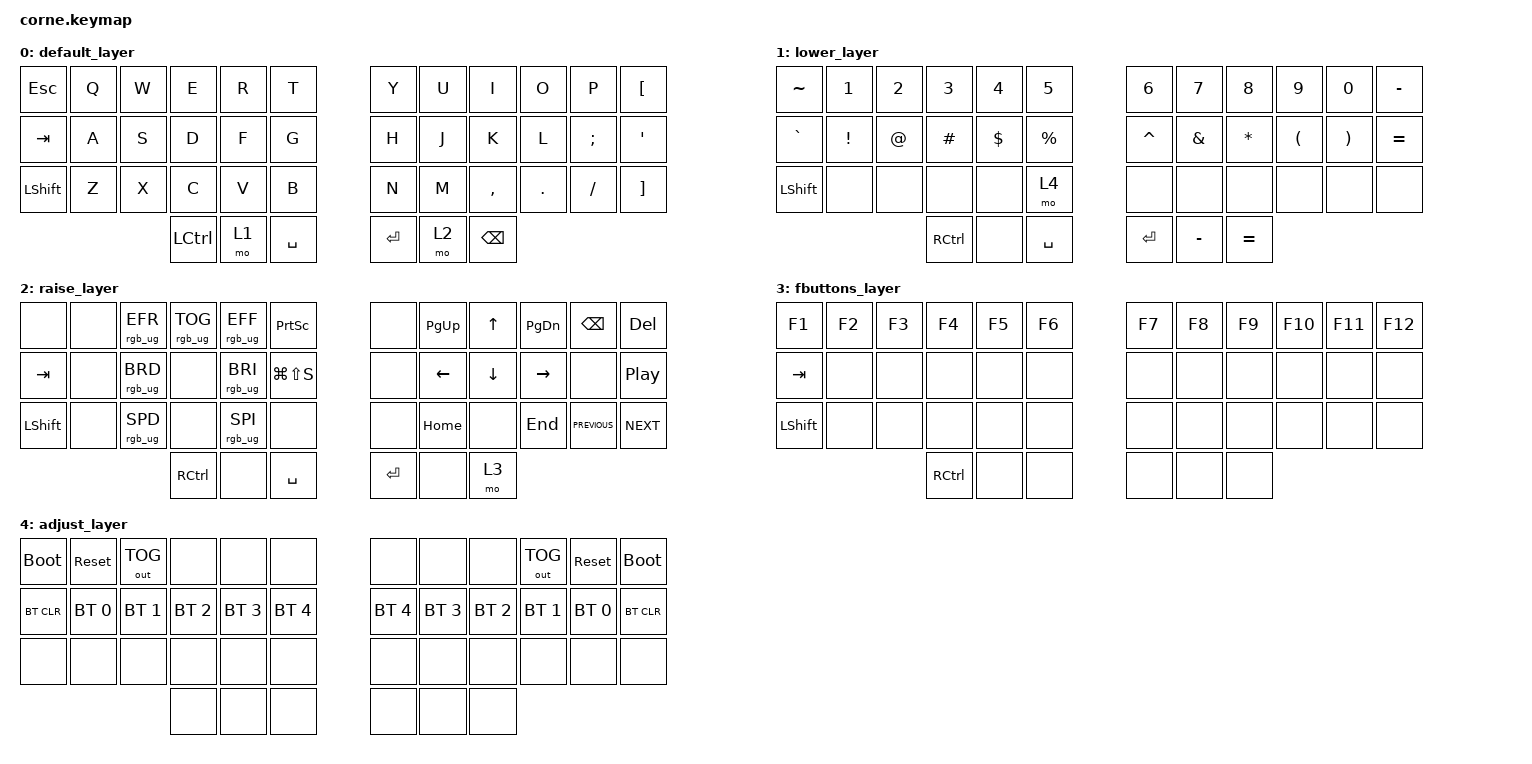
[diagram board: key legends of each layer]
/*
 * Copyright (c) 2020 The ZMK Contributors
 *
 * SPDX-License-Identifier: MIT
 */

#include <behaviors.dtsi>
#include <dt-bindings/zmk/keys.h>
#include <dt-bindings/zmk/bt.h>

/ {
        behaviors {
          tp: tap_preferred {
            compatible = "zmk,behavior-hold-tap";
            label = "TAP_PREFERRED";
            #binding-cells = <2>;
            tapping-term-ms = <150>;
            quick-tap-ms = <0>;
            flavor = "tap-preferred";
            bindings = <&kp>, <&kp>;
          }; 
        };

        combos {
        compatible = "zmk,combos";
        ParaLeft {
            bindings = <&kp LEFT_PARENTHESIS>;
            key-positions = <4 5>;
            timeout-ms = <20>;
        };

        ParaRight {
            bindings = <&kp RIGHT_PARENTHESIS>;
            key-positions = <6 7>;
            timeout-ms = <20>;
        };

        BrakLeft {
            bindings = <&kp LEFT_BRACKET>;
            key-positions = <16 17>;
            timeout-ms = <20>;
        };

        BrakRight {
            bindings = <&kp RIGHT_BRACKET>;
            key-positions = <18 19>;
            timeout-ms = <20>;
        };

        BraceLeft {
            bindings = <&kp LEFT_BRACE>;
            key-positions = <28 29>;
            timeout-ms = <20>;
        };

        BraceRight {
            bindings = <&kp RIGHT_BRACE>;
            key-positions = <30 31>;
            timeout-ms = <20>;
        };

        DoubleQuote {
            bindings = <&kp DOUBLE_QUOTES>;
            key-positions = <15 16>;
            timeout-ms = <20>;
        };

        SingleQuote {
            bindings = <&kp APOSTROPHE>;
            key-positions = <19 20>;
            timeout-ms = <20>;
        };

        //LangRu {
        //    bindings = <&kp LG(F11)>;
        //    key-positions = <0 1>;
        //    timeout-ms = <20>;
        //};
        //LangUs {
        //   bindings = <&kp LG(F12)>;
        //    key-positions = <10 11>;
        //    timeout-ms = <20>;
        //};
        //LangRuL {
        //    bindings = <&kp LG(F11)>;
        //    key-positions = <36 38>;
        //    timeout-ms = <20>;
        //};
        //LangUsL {
        //    bindings = <&kp LG(F12)>;
        //    key-positions = <39 41>;
        //    timeout-ms = <20>;
        //};

        TildaSign {
            bindings = <&kp TILDE>;
            key-positions = <0 12>;
            timeout-ms = <20>;
        };

        GraveSign {
            bindings = <&kp GRAVE>;
            key-positions = <12 24>;
            timeout-ms = <20>;
        };

        MinusSign {
            bindings = <&kp MINUS>;
            key-positions = <3 4>;
            timeout-ms = <20>;
        };

        PlusSign {
            bindings = <&kp PLUS>;
            key-positions = <2 3>;
            timeout-ms = <20>;
        };

        UnderscoreSign {
            bindings = <&kp UNDERSCORE>;
            key-positions = <7 8>;
            timeout-ms = <20>;
        };

        PipeSign {
            bindings = <&kp PIPE>;
            key-positions = <8 9>;
            timeout-ms = <20>;
        };
    };

        keymap {
        compatible = "zmk,keymap";

        default_layer {
            bindings = <
&kp ESC    &kp Q  &kp W  &kp E      &kp R  &kp T        &kp Y      &kp U  &kp I          &kp O    &kp P     &kp LEFT_BRACKET
&kp TAB    &kp A  &kp S  &kp D      &kp F  &kp G        &kp H      &kp J  &kp K          &kp L    &kp SEMI  &kp SQT
&kp LSHFT  &kp Z  &kp X  &kp C      &kp V  &kp B        &kp N      &kp M  &kp COMMA      &kp DOT  &kp FSLH  &kp RIGHT_BRACKET
                         &kp LCTRL  &mo 1  &kp SPACE    &kp ENTER  &mo 2  &kp BACKSPACE
            >;
        };

        lower_layer {
            bindings = <
&kp TILDE  &kp N1    &kp N2  &kp N3     &kp N4    &kp N5       &kp N6     &kp N7     &kp N8     &kp N9    &kp N0    &kp MINUS
&kp GRAVE  &kp EXCL  &kp AT  &kp HASH   &kp DLLR  &kp PRCNT    &kp CARET  &kp AMPS   &kp ASTRK  &kp LPAR  &kp RPAR  &kp EQUAL
&kp LSHFT  &none     &none   &none      &none     &mo 4        &none      &none      &none      &none     &none     &none
                             &kp RCTRL  &none     &kp SPACE    &kp ENTER  &kp MINUS  &kp EQUAL
            >;
        };

        raise_layer {
            bindings = <
&none           &none  &rgb_ug RGB_EFR  &rgb_ug RGB_TOG  &rgb_ug RGB_EFF  &kp PRINTSCREEN    &none      &kp PG_UP  &kp UP    &kp PG_DN  &kp BACKSPACE   &kp DEL
&kp TAB         &none  &rgb_ug RGB_BRD  &none            &rgb_ug RGB_BRI  &kp LG(LS(S))      &none      &kp LEFT   &kp DOWN  &kp RIGHT  &none           &kp C_PLAY_PAUSE
&kp LEFT_SHIFT  &none  &rgb_ug RGB_SPD  &none            &rgb_ug RGB_SPI  &none              &none      &kp HOME   &none     &kp END    &kp C_PREVIOUS  &kp C_NEXT
                                        &kp RCTRL        &none            &kp SPACE          &kp ENTER  &none      &mo 3
            >;
        };

        fbuttons_layer {
            bindings = <
&kp F1          &kp F2  &kp F3  &kp F4     &kp F5  &kp F6    &kp F7  &kp F8  &kp F9  &kp F10  &kp F11  &kp F12
&kp TAB         &none   &none   &none      &none   &none     &none   &none   &none   &none    &none    &none
&kp LEFT_SHIFT  &none   &none   &none      &none   &none     &none   &none   &none   &none    &none    &none
                                &kp RCTRL  &none   &none     &none   &none   &none
            >;
        };

        adjust_layer {
            bindings = <
&bootloader  &sys_reset    &out OUT_TOG  &none         &none         &none           &none         &none         &none         &out OUT_TOG  &sys_reset    &bootloader
&bt BT_CLR   &bt BT_SEL 0  &bt BT_SEL 1  &bt BT_SEL 2  &bt BT_SEL 3  &bt BT_SEL 4    &bt BT_SEL 4  &bt BT_SEL 3  &bt BT_SEL 2  &bt BT_SEL 1  &bt BT_SEL 0  &bt BT_CLR
&none        &none         &none         &none         &none         &none           &none         &none         &none         &none         &none         &none
                                         &none         &none         &none           &none         &none         &none
            >;
                };
        };
};
